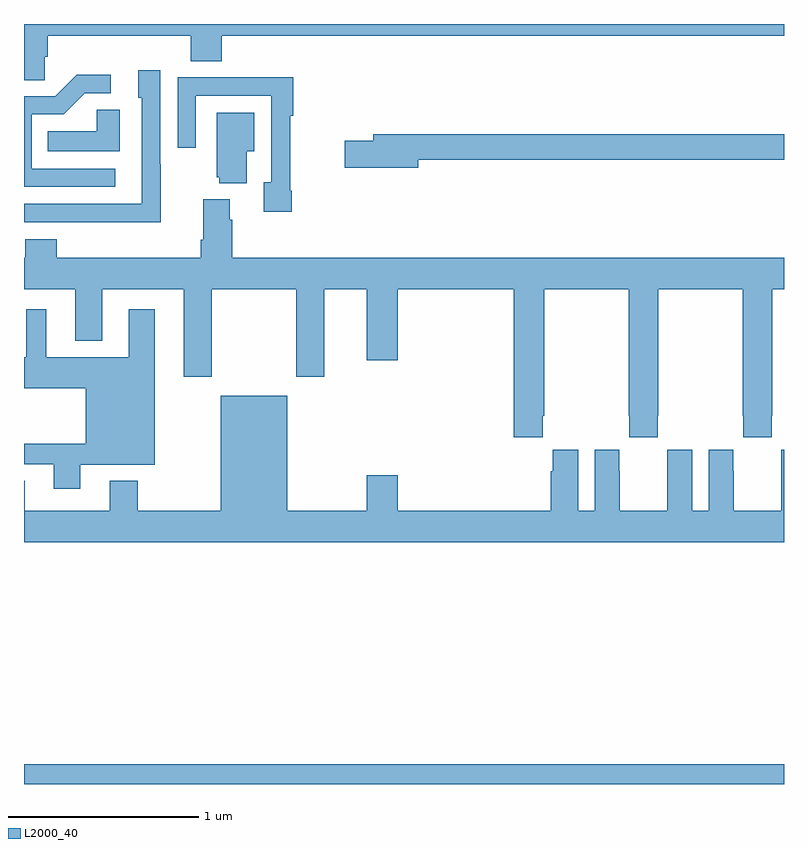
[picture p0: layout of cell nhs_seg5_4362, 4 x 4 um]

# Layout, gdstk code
import gdstk
lib = gdstk.Library(unit=1e-6, precision=1e-09)
def R(c, l, rs):  # rectangles x0, y0, x1, y1
    for r in rs: c.add(gdstk.rectangle(r[:2], r[2:], *l))
def P(c, l, *ps):  # polygons
    for p in ps: c.add(gdstk.Polygon(p, *l))
L2000_40 = (2000, 40)

nhs_seg5_4362 = lib.new_cell('nhs_seg5_4362')
R(nhs_seg5_4362, L2000_40, [(367,876.799,371,876.904)])
P(nhs_seg5_4362, L2000_40, [(367.11,880.627),(367.124,880.627),(367.124,880.736),(367.877,880.736),(367.877,880.603),(368.042,880.603),(368.042,880.736),(371,880.736),(371,880.799),(367,880.799),(367,880.504),(367.11,880.504)],
  [(367.719,880.061),(367.716,880.061),(367.716,880.555),(367.601,880.555),(367.601,880.41),(367.62,880.41),(367.62,879.852),(367,879.852),(367,879.756),(367.255,879.756),(367.255,879.755),(367.719,879.755)],
  [(367.48,880.038),(367.041,880.038),(367.041,880.323),(367.21,880.323),(367.321,880.434),(367.456,880.434),(367.456,880.532),(367.277,880.532),(367.164,880.419),(367,880.419),(367,879.942),(367.48,879.942)],
  [(368.41,879.922),(368.402,879.922),(368.402,880.315),(368.417,880.315),(368.417,880.52),(368.125,880.52),(368.125,880.518),(367.809,880.518),(367.809,880.149),(367.905,880.149),(367.905,880.422),(368.301,880.422),(368.301,879.966),(368.261,879.966),(368.261,879.81),(368.41,879.81)],
  [(367.504,880.349),(367.383,880.349),(367.383,880.234),(367.126,880.234),(367.126,880.13),(367.504,880.13)],
  [(368.173,880.13),(368.212,880.13),(368.212,880.333),(368.015,880.333),(368.015,879.993),(368.027,879.993),(368.027,879.962),(368.173,879.962)],
  [(369.076,880.084),(371,880.084),(371,880.22),(368.837,880.22),(368.837,880.184),(368.688,880.184),(368.688,880.042),(369.076,880.042)],
  [(369.731,878.737),(369.738,878.737),(369.738,879.404),(370.183,879.404),(370.183,878.737),(370.185,878.737),(370.185,878.625),(370.335,878.625),(370.335,878.737),(370.338,878.737),(370.338,879.404),(370.783,879.404),(370.783,878.737),(370.785,878.737),(370.785,878.625),(370.935,878.625),(370.935,878.737),(370.938,878.737),(370.938,879.404),(371,879.404),(371,879.568),(368.096,879.568),(368.096,879.77),(368.083,879.77),(368.083,879.877),(367.943,879.877),(367.943,879.664),(367.931,879.664),(367.931,879.568),(367.172,879.568),(367.172,879.667),(367.007,879.667),(367.007,879.568),(367,879.568),(367,879.404),(367.271,879.404),(367.271,879.131),(367.411,879.131),(367.411,879.404),(367.841,879.404),(367.841,878.943),(367.989,878.943),(367.989,879.404),(368.434,879.404),(368.434,878.943),(368.581,878.943),(368.581,879.404),(368.804,879.404),(368.804,879.03),(368.968,879.03),(368.968,879.404),(369.578,879.404),(369.578,878.625),(369.731,878.625)],
  [(367.297,878.48),(367.687,878.48),(367.687,879.298),(367.55,879.298),(367.55,879.046),(367.117,879.046),(367.117,879.298),(367.013,879.298),(367.013,879.046),(367,879.046),(367,878.882),(367.325,878.882),(367.325,878.59),(367,878.59),(367,878.481),(367.157,878.481),(367.157,878.352),(367.297,878.352)],
  [(371,878.557),(370.986,878.557),(370.986,878.444),(370.985,878.444),(370.985,878.236),(370.735,878.236),(370.735,878.444),(370.734,878.444),(370.734,878.557),(370.604,878.557),(370.604,878.236),(370.516,878.236),(370.516,878.557),(370.386,878.557),(370.386,878.444),(370.385,878.444),(370.385,878.236),(370.135,878.236),(370.135,878.444),(370.134,878.444),(370.134,878.557),(370.004,878.557),(370.004,878.236),(369.916,878.236),(369.916,878.557),(369.782,878.557),(369.782,878.444),(369.773,878.444),(369.773,878.236),(368.968,878.236),(368.968,878.425),(368.804,878.425),(368.804,878.236),(368.386,878.236),(368.386,878.842),(368.036,878.842),(368.036,878.236),(367.599,878.236),(367.599,878.395),(367.451,878.395),(367.451,878.236),(367.003,878.236),(367.003,878.396),(367,878.396),(367,878.072),(371,878.072)])

lib.write_gds('nhs_seg5_4362.gds')
